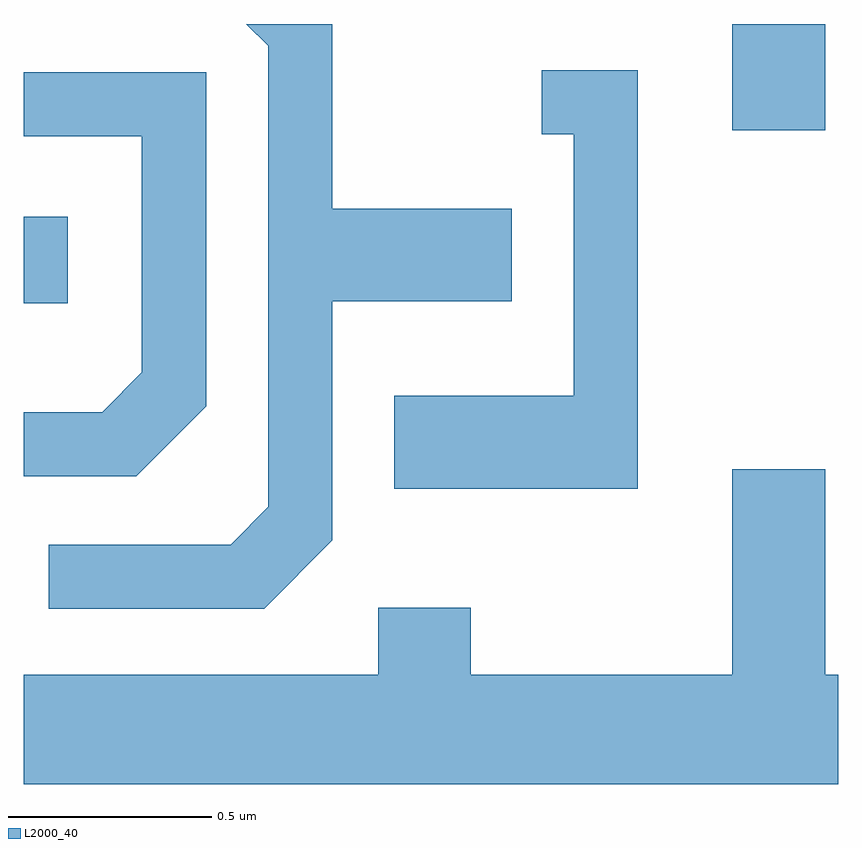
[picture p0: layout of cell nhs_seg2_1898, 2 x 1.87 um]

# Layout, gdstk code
import gdstk
lib = gdstk.Library(unit=1e-6, precision=1e-09)
def R(c, l, rs):  # rectangles x0, y0, x1, y1
    for r in rs: c.add(gdstk.rectangle(r[:2], r[2:], *l))
def P(c, l, *ps):  # polygons
    for p in ps: c.add(gdstk.Polygon(p, *l))
L2000_40 = (2000, 40)

nhs_seg2_1898 = lib.new_cell('nhs_seg2_1898')
R(nhs_seg2_1898, L2000_40, [(198.611,1096.116,198.719,1096.329), (200.351,1096.541,200.579,1096.802)])
P(nhs_seg2_1898, L2000_40, [(199.369,1095.534),(199.369,1096.121),(199.809,1096.121),(199.809,1096.349),(199.369,1096.349),(199.369,1096.802),(199.158,1096.802),(199.211,1096.749),(199.211,1095.617),(199.119,1095.524),(198.673,1095.524),(198.673,1095.366),(199.202,1095.366)],
  [(200.119,1096.689),(199.883,1096.689),(199.883,1096.531),(199.961,1096.531),(199.961,1095.889),(199.521,1095.889),(199.521,1095.661),(200.119,1095.661)],
  [(199.059,1095.864),(199.059,1096.684),(198.611,1096.684),(198.611,1096.526),(198.901,1096.526),(198.901,1095.947),(198.804,1095.849),(198.611,1095.849),(198.611,1095.691),(198.887,1095.691)],
  [(200.611,1095.204),(200.579,1095.204),(200.579,1095.709),(200.351,1095.709),(200.351,1095.204),(199.709,1095.204),(199.709,1095.369),(199.481,1095.369),(199.481,1095.204),(198.611,1095.204),(198.611,1094.936),(200.611,1094.936)])

lib.write_gds('nhs_seg2_1898.gds')
